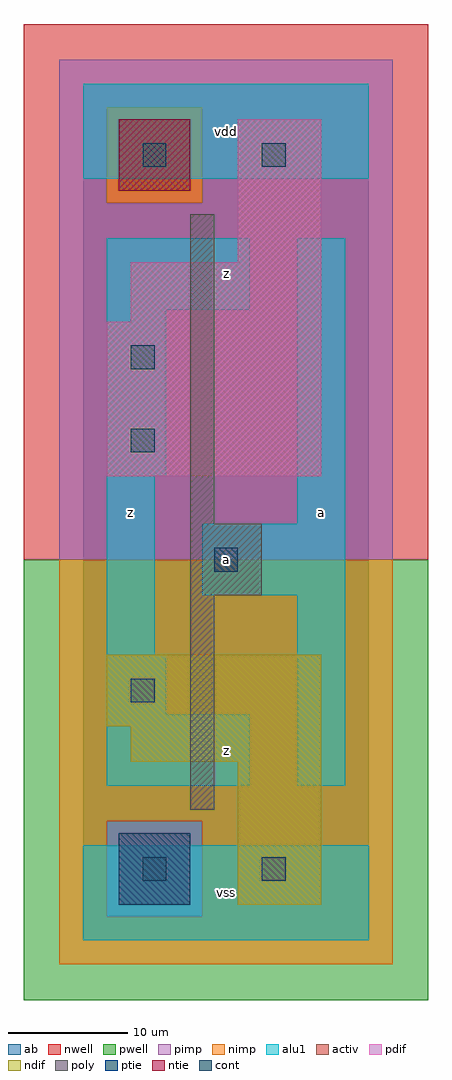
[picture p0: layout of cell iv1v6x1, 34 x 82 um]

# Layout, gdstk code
import gdstk
lib = gdstk.Library(unit=1e-6, precision=1e-09)
def R(c, l, rs):  # rectangles x0, y0, x1, y1
    for r in rs: c.add(gdstk.rectangle(r[:2], r[2:], *l))
ndif = (3, 0)
pdif = (4, 0)
ntie = (5, 0)
ptie = (6, 0)
cont = (25, 0)
pwell = (41, 0)
nwell = (42, 0)
activ = (43, 0)
pimp = (44, 0)
nimp = (45, 0)
poly = (46, 0)
alu1 = (49, 0)
ab = (63, 0)

iv1v6x1 = lib.new_cell('iv1v6x1')
R(iv1v6x1, ndif, [(13,3,20,15), (4,15,20,18), (2,18,20,24)])
R(iv1v6x1, pdif, [(2,39,20,52), (4,52,20,57), (13,57,20,69)])
R(iv1v6x1, ntie, [(3,63,9,69)])
R(iv1v6x1, ptie, [(3,3,9,9)])
R(iv1v6x1, cont, [(5,5,7,7), (15,5,17,7), (4,20,6,22), (11,31,13,33), (4,41,6,43), (4,48,6,50), (5,65,7,67), (15,65,17,67)])
R(iv1v6x1, pwell, [(-5,-5,29,32)])
R(iv1v6x1, nwell, [(-5,32,29,77)])
R(iv1v6x1, activ, [(3,3,9,9), (13,3,20,15), (4,15,20,18), (2,18,20,24), (2,39,20,52), (4,52,20,57), (13,57,20,69), (3,63,9,69)])
R(iv1v6x1, pimp, [(2,2,10,10), (-2,32,26,62), (-2,62,2,70), (10,62,26,70), (-2,70,26,74)])
R(iv1v6x1, nimp, [(-2,-2,26,2), (-2,2,2,10), (10,2,26,10), (-2,10,26,32), (2,62,10,70)])
R(iv1v6x1, poly, [(9,11,11,29), (9,29,15,35), (9,35,11,61)])
R(iv1v6x1, alu1, [(0,0,24,8), (2,13,14,19), (18,13,22,29), (2,19,7,24), (2,24,6,39), (10,29,22,35), (18,35,22,59), (2,39,7,53), (2,53,14,59), (0,64,24,72)])
R(iv1v6x1, ab, [(0,0,24,72)])
iv1v6x1.add(gdstk.Label('z', (4,36), layer=49, texttype=0))
iv1v6x1.add(gdstk.Label('vss', (12,4), layer=49, texttype=0))
iv1v6x1.add(gdstk.Label('z', (12,16), layer=49, texttype=0))
iv1v6x1.add(gdstk.Label('a', (12,32), layer=49, texttype=0))
iv1v6x1.add(gdstk.Label('z', (12,56), layer=49, texttype=0))
iv1v6x1.add(gdstk.Label('vdd', (12,68), layer=49, texttype=0))
iv1v6x1.add(gdstk.Label('a', (20,36), layer=49, texttype=0))

lib.write_gds('iv1v6x1.gds')
